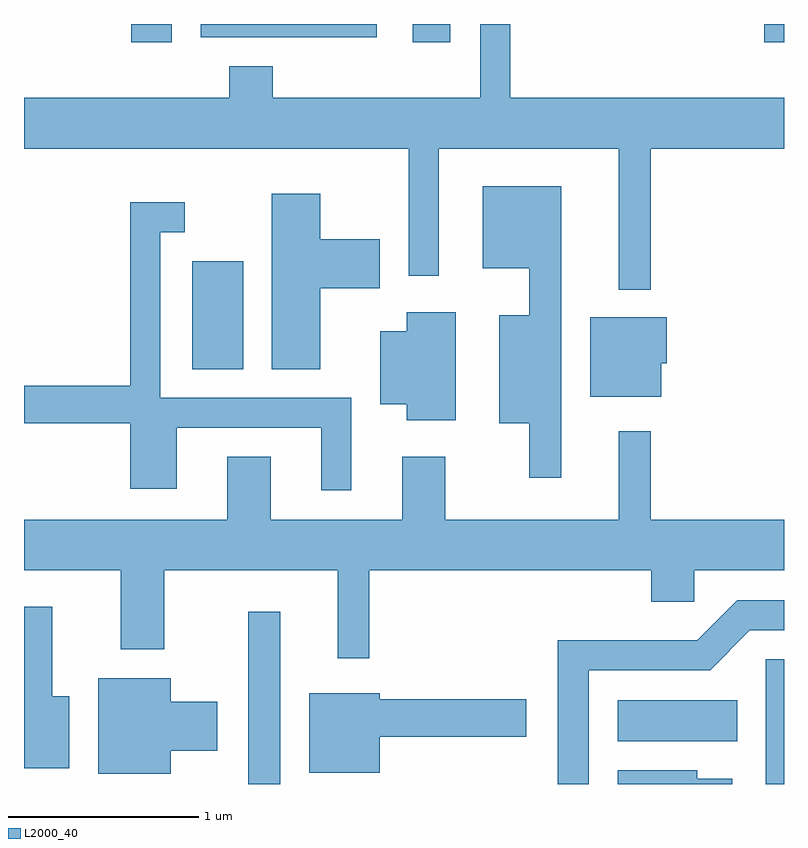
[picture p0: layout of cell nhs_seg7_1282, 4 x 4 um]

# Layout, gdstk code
import gdstk
lib = gdstk.Library(unit=1e-6, precision=1e-09)
def R(c, l, rs):  # rectangles x0, y0, x1, y1
    for r in rs: c.add(gdstk.rectangle(r[:2], r[2:], *l))
def P(c, l, *ps):  # polygons
    for p in ps: c.add(gdstk.Polygon(p, *l))
L2000_40 = (2000, 40)

nhs_seg7_1282 = lib.new_cell('nhs_seg7_1282')
R(nhs_seg7_1282, L2000_40, [(224.791,1764.252,224.959,1765.158), (227.516,1764.252,227.611,1764.909), (226.736,1764.476,227.364,1764.694), (224.496,1766.436,224.764,1767.004), (224.176,1768.156,224.389,1768.252), (225.656,1768.156,225.854,1768.252), (227.506,1768.156,227.611,1768.252), (224.541,1768.181,225.468,1768.252)])
P(nhs_seg7_1282, L2000_40, [(226.909,1767.596),(227.611,1767.596),(227.611,1767.864),(226.169,1767.864),(226.169,1768.252),(226.011,1768.252),(226.011,1767.864),(224.919,1767.864),(224.919,1768.029),(224.691,1768.029),(224.691,1767.864),(223.611,1767.864),(223.611,1767.596),(225.636,1767.596),(225.636,1766.928),(225.794,1766.928),(225.794,1767.596),(226.741,1767.596),(226.741,1766.853),(226.909,1766.853)],
  [(226.439,1767.399),(226.026,1767.399),(226.026,1766.966),(226.271,1766.966),(226.271,1766.719),(226.111,1766.719),(226.111,1766.151),(226.271,1766.151),(226.271,1765.863),(226.439,1765.863)],
  [(225.169,1766.861),(225.484,1766.861),(225.484,1767.119),(225.169,1767.119),(225.169,1767.359),(224.916,1767.359),(224.916,1766.436),(225.169,1766.436)],
  [(225.334,1766.284),(224.329,1766.284),(224.329,1767.156),(224.458,1767.156),(224.458,1767.314),(224.171,1767.314),(224.171,1766.349),(223.611,1766.349),(223.611,1766.151),(224.171,1766.151),(224.171,1765.806),(224.414,1765.806),(224.414,1766.126),(225.176,1766.126),(225.176,1765.798),(225.334,1765.798)],
  [(225.884,1766.734),(225.626,1766.734),(225.626,1766.634),(225.486,1766.634),(225.486,1766.251),(225.626,1766.251),(225.626,1766.166),(225.884,1766.166)],
  [(226.964,1766.466),(226.994,1766.466),(226.994,1766.709),(226.591,1766.709),(226.591,1766.291),(226.964,1766.291)],
  [(225.429,1765.376),(226.911,1765.376),(226.911,1765.211),(227.139,1765.211),(227.139,1765.376),(227.611,1765.376),(227.611,1765.644),(226.909,1765.644),(226.909,1766.108),(226.741,1766.108),(226.741,1765.644),(225.829,1765.644),(225.829,1765.974),(225.601,1765.974),(225.601,1765.644),(224.909,1765.644),(224.909,1765.974),(224.681,1765.974),(224.681,1765.644),(223.611,1765.644),(223.611,1765.376),(224.121,1765.376),(224.121,1764.961),(224.349,1764.961),(224.349,1765.376),(225.261,1765.376),(225.261,1764.913),(225.429,1764.913)],
  [(226.584,1764.851),(227.222,1764.851),(227.432,1765.061),(227.611,1765.061),(227.611,1765.219),(227.364,1765.219),(227.154,1765.009),(226.421,1765.009),(226.421,1764.252),(226.584,1764.252)],
  [(223.849,1764.714),(223.759,1764.714),(223.759,1765.184),(223.611,1765.184),(223.611,1764.336),(223.849,1764.336)],
  [(224.384,1764.426),(224.629,1764.426),(224.629,1764.684),(224.384,1764.684),(224.384,1764.809),(224.001,1764.809),(224.001,1764.306),(224.384,1764.306)],
  [(225.484,1764.501),(226.254,1764.501),(226.254,1764.699),(225.484,1764.699),(225.484,1764.729),(225.111,1764.729),(225.111,1764.311),(225.484,1764.311)],
  [(227.339,1764.279),(227.154,1764.279),(227.154,1764.324),(226.736,1764.324),(226.736,1764.252),(227.339,1764.252)])

lib.write_gds('nhs_seg7_1282.gds')
